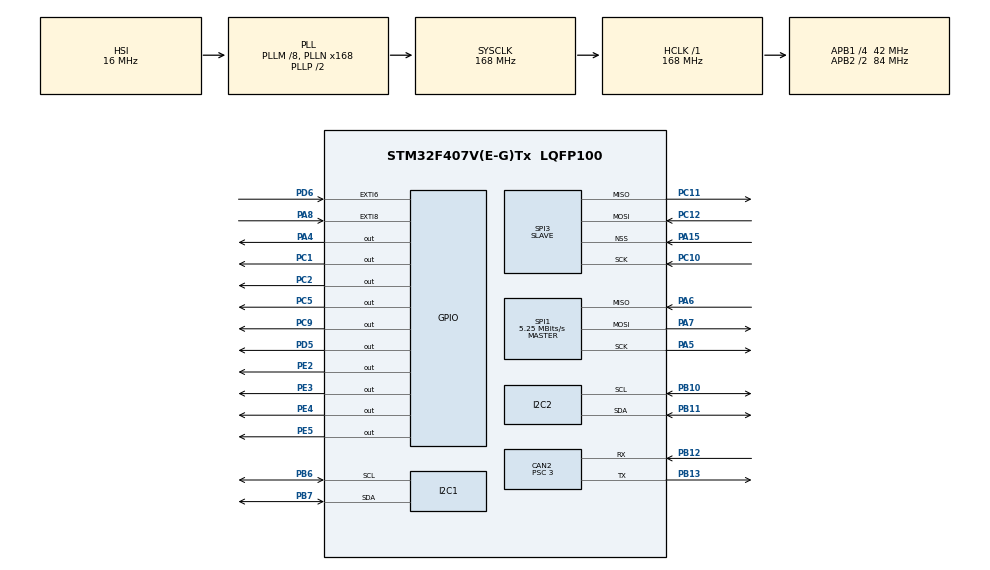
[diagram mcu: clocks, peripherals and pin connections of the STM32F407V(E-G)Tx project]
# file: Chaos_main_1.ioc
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CAN2.ABOM=ENABLE
CAN2.BS1=CAN_BS1_11TQ
CAN2.BS2=CAN_BS2_2TQ
CAN2.CalculateBaudRate=1000000
CAN2.CalculateTimeBit=1000
CAN2.CalculateTimeQuantum=71.42857142857143
CAN2.NART=ENABLE
CAN2.Prescaler=3
Dma.Request0=SPI3_RX
Dma.Request1=SPI3_TX
Dma.SPI3_RX.0.Direction=DMA_PERIPH_TO_MEMORY
Dma.SPI3_RX.0.FIFOMode=DMA_FIFOMODE_DISABLE
Dma.SPI3_RX.0.Instance=DMA1_Stream2
Dma.SPI3_RX.0.MemDataAlignment=DMA_MDATAALIGN_BYTE
Dma.SPI3_RX.0.MemInc=DMA_MINC_ENABLE
Dma.SPI3_RX.0.Mode=DMA_NORMAL
Dma.SPI3_RX.0.PeriphDataAlignment=DMA_PDATAALIGN_BYTE
Dma.SPI3_RX.0.PeriphInc=DMA_PINC_DISABLE
Dma.SPI3_RX.0.Priority=DMA_PRIORITY_LOW
Dma.SPI3_TX.1.Direction=DMA_MEMORY_TO_PERIPH
Dma.SPI3_TX.1.FIFOMode=DMA_FIFOMODE_DISABLE
Dma.SPI3_TX.1.Instance=DMA1_Stream5
Dma.SPI3_TX.1.MemDataAlignment=DMA_MDATAALIGN_BYTE
Dma.SPI3_TX.1.MemInc=DMA_MINC_ENABLE
Dma.SPI3_TX.1.Mode=DMA_NORMAL
Dma.SPI3_TX.1.PeriphDataAlignment=DMA_PDATAALIGN_BYTE
Dma.SPI3_TX.1.PeriphInc=DMA_PINC_DISABLE
Dma.SPI3_TX.1.Priority=DMA_PRIORITY_LOW
Mcu.Family=STM32F4
Mcu.Name=STM32F407V(E-G)Tx
Mcu.Package=LQFP100
NVIC.CAN2_RX0_IRQn=true\:0\:0\:false\:false\:true\:true\:true\:true
NVIC.CAN2_RX1_IRQn=true\:0\:0\:false\:false\:true\:true\:true\:true
NVIC.CAN2_SCE_IRQn=true\:0\:0\:false\:false\:true\:true\:true\:true
NVIC.CAN2_TX_IRQn=true\:0\:0\:false\:false\:true\:true\:true\:true
NVIC.DMA1_Stream2_IRQn=true\:0\:0\:false\:false\:true\:false\:true\:true
NVIC.DMA1_Stream5_IRQn=true\:0\:0\:false\:false\:true\:false\:true\:true
NVIC.EXTI9_5_IRQn=true\:0\:0\:false\:false\:true\:true\:true\:true
NVIC.PriorityGroup=NVIC_PRIORITYGROUP_4
NVIC.SPI3_IRQn=true\:0\:0\:false\:false\:true\:true\:true\:true
NVIC.TIM1_BRK_TIM9_IRQn=true\:0\:0\:false\:false\:true\:true\:true\:true
NVIC.TIM1_CC_IRQn=true\:0\:0\:false\:false\:true\:true\:true\:true
NVIC.TIM1_TRG_COM_TIM11_IRQn=true\:0\:0\:false\:false\:true\:true\:true\:true
NVIC.TIM1_UP_TIM10_IRQn=true\:0\:0\:false\:false\:true\:true\:true\:true
NVIC.TIM2_IRQn=true\:0\:0\:false\:false\:true\:true\:true\:true
NVIC.TIM3_IRQn=true\:0\:0\:false\:false\:true\:true\:true\:true
NVIC.TIM4_IRQn=true\:0\:0\:false\:false\:true\:true\:true\:true
NVIC.TIM5_IRQn=true\:0\:0\:false\:false\:true\:true\:true\:true
PA13.Mode=Serial_Wire
PA13.Signal=SYS_JTMS-SWDIO
PA14.Mode=Serial_Wire
PA14.Signal=SYS_JTCK-SWCLK
PA15.Mode=NSS_Signal_Hard_Input
PA15.Signal=SPI3_NSS
PA4.Signal=GPIO_Output
PA5.Mode=Full_Duplex_Master
PA5.Signal=SPI1_SCK
PA6.Mode=Full_Duplex_Master
PA6.Signal=SPI1_MISO
PA7.Mode=Full_Duplex_Master
PA7.Signal=SPI1_MOSI
PA8.Signal=GPXTI8
PB10.Mode=I2C
PB10.Signal=I2C2_SCL
PB11.Mode=I2C
PB11.Signal=I2C2_SDA
PB12.Mode=CAN_Activate
PB12.Signal=CAN2_RX
PB13.Mode=CAN_Activate
PB13.Signal=CAN2_TX
PB6.Mode=I2C
PB6.Signal=I2C1_SCL
PB7.Mode=I2C
PB7.Signal=I2C1_SDA
PC1.Signal=GPIO_Output
PC10.Mode=Full_Duplex_Slave
PC10.Signal=SPI3_SCK
PC11.Mode=Full_Duplex_Slave
PC11.Signal=SPI3_MISO
PC12.Mode=Full_Duplex_Slave
PC12.Signal=SPI3_MOSI
PC2.Signal=GPIO_Output
PC5.Signal=GPIO_Output
PC9.Signal=GPIO_Output
PD5.Signal=GPIO_Output
PD6.GPIO_ModeDefaultEXTI=GPIO_MODE_IT_RISING
PD6.GPIO_PuPd=GPIO_PULLDOWN
PD6.Signal=GPXTI6
PE2.Signal=GPIO_Output
PE3.Signal=GPIO_Output
PE4.Signal=GPIO_Output
PE5.Signal=GPIO_Output
PH0-OSC_IN.Mode=HSE-External-Oscillator
PH0-OSC_IN.Signal=RCC_OSC_IN
PH1-OSC_OUT.Mode=HSE-External-Oscillator
PH1-OSC_OUT.Signal=RCC_OSC_OUT
ProjectManager.HeapSize=0x200
ProjectManager.StackSize=0x400
ProjectManager.TargetToolchain=STM32CubeIDE
RCC.48MHZClocksFreq_Value=84000000
RCC.AHBFreq_Value=168000000
RCC.APB1CLKDivider=RCC_HCLK_DIV4
RCC.APB1Freq_Value=42000000
RCC.APB1TimFreq_Value=84000000
RCC.APB2CLKDivider=RCC_HCLK_DIV2
RCC.APB2Freq_Value=84000000
RCC.APB2TimFreq_Value=168000000
RCC.CortexFreq_Value=168000000
RCC.HCLKFreq_Value=168000000
RCC.HSE_VALUE=25000000
RCC.HSI_VALUE=16000000
RCC.LSE_VALUE=32768
RCC.PLLM=8
RCC.PLLN=168
RCC.SYSCLKFreq_VALUE=168000000
RCC.SYSCLKSource=RCC_SYSCLKSOURCE_PLLCLK
RCC.VCOOutputFreq_Value=336000000
SPI1.BaudRatePrescaler=SPI_BAUDRATEPRESCALER_16
SPI1.CalculateBaudRate=5.25 MBits/s
SPI1.Direction=SPI_DIRECTION_2LINES
SPI1.Mode=SPI_MODE_MASTER
SPI1.VirtualType=VM_MASTER
SPI3.Direction=SPI_DIRECTION_2LINES
SPI3.Mode=SPI_MODE_SLAVE
SPI3.VirtualNSS=VM_NSSHARD
SPI3.VirtualType=VM_SLAVE
TIM1.Period=399
TIM1.Prescaler=8399
TIM2.Period=9
TIM2.Prescaler=8399
TIM3.Period=9
TIM3.Prescaler=8399
TIM4.Period=9
TIM4.Prescaler=8399
TIM5.Period=24999
TIM5.Prescaler=16799
VP_TIM1_VS_ClockSourceINT.Mode=Internal
VP_TIM2_VS_ClockSourceINT.Mode=Internal
VP_TIM3_VS_ClockSourceINT.Mode=Internal
VP_TIM4_VS_ClockSourceINT.Mode=Internal
VP_TIM5_VS_ClockSourceINT.Mode=Internal
board=custom

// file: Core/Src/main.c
/* USER CODE BEGIN Header */
/**
  ******************************************************************************
  * @file           : main.c
  * @brief          : Main program body
  ******************************************************************************
  */
/* USER CODE END Header */
#include "main.h"

/* USER CODE BEGIN Includes */
#include "utils.h"
#include "NRF24.h"
#include "NRF24_reg_addresses.h"
/* USER CODE END Includes */

CAN_HandleTypeDef hcan2;

I2C_HandleTypeDef hi2c1;
I2C_HandleTypeDef hi2c2;

SPI_HandleTypeDef hspi1;
SPI_HandleTypeDef hspi3;
DMA_HandleTypeDef hdma_spi3_rx;
DMA_HandleTypeDef hdma_spi3_tx;

TIM_HandleTypeDef htim1;
TIM_HandleTypeDef htim2;
TIM_HandleTypeDef htim3;
TIM_HandleTypeDef htim4;
TIM_HandleTypeDef htim5;

/* USER CODE BEGIN PV */

volatile uint8_t init_ok;

/*  =========================== BQ76952 =========================== */
BQ76952_Data_t    bq76952       = {0};
BQ76952_Debug_t   bq_dbg        = {0};

/*  =========================== CAN / BQ error tracking =========================== */
uint32_t             err       = 0;
uint8_t              debug_i2c = 5;   /* set in debugger: 0-5, see BQ76952_DiagMode_t */
BQ76952_DiagResult_t bq_diag   = {0};

/*  =========================== NRF24L01 (RX / slave) =========================== */
static uint8_t nrf_addr[5] = {0x12, 0x34, 0x56, 0x78, 0x9A};  /* phai trung master */
static uint8_t nrf_buf[4];
float    nrf_vx = 0.0f, nrf_vy = 0.0f, nrf_vz = 0.0f;   /* gia tri nhan, [-0.5, 0.5] */
uint8_t  nrf_action = 0;                                 /* 0=block, 1=bat dau kiem tra arm */
uint32_t nrf_rx_count = 0;                               /* tong so goi nhan duoc */
uint32_t nrf_bad_width = 0;                              /* goi RX sai do dai */
uint32_t nrf_last_rx  = 0;                               /* tick cua goi cuoi */
uint8_t  nrf_link_ok  = 0;                               /* 1 = dang nhan, 0 = mat ket noi */

/* USER CODE END PV */

void SystemClock_Config(void);
static void MX_GPIO_Init(void);
static void MX_DMA_Init(void);
static void MX_I2C2_Init(void);
static void MX_SPI3_Init(void);
static void MX_CAN2_Init(void);
static void MX_I2C1_Init(void);
static void MX_TIM1_Init(void);
static void MX_TIM2_Init(void);
static void MX_TIM3_Init(void);
static void MX_TIM4_Init(void);
static void MX_SPI1_Init(void);
static void MX_TIM5_Init(void);

/* USER CODE BEGIN 0 */

/* Nạp ACK payload cho NRF: khi remote (master) gửi gói tới, NRF tự trả ACK kèm
 * 5 byte trạng thái này. Payload:
 *   [0] = init_done_mask bit 0..7
 *   [1] = init_done_mask bit 8..11
 *   [2] = rx_joints_received bit 0..7
 *   [3] = rx_joints_received bit 8..11
 *   [4] = flags: bit0 robot_falling (1=falling, 0=standing), bit1 all_nodes_ready
 * Phải nạp TRƯỚC khi gói tới (ack tự gửi bằng payload đang có trong FIFO).
 * LƯU Ý: remote (master) PHẢI bật Dynamic Payload + Ack Payload mới đọc được. */
static void nrf_load_status_ack(void)
{
    uint16_t init_mask = (uint16_t)(init_done_mask & 0x0FFFu);
    uint16_t rx_mask   = (uint16_t)(rx_joints_received & 0x0FFFu);
    uint8_t  buf[5];
    buf[0] = (uint8_t)(init_mask & 0xFF);
    buf[1] = (uint8_t)((init_mask >> 8) & 0x0F);
    buf[2] = (uint8_t)(rx_mask & 0xFF);
    buf[3] = (uint8_t)((rx_mask >> 8) & 0x0F);
    buf[4] = (uint8_t)((robot_falling ? 0x01u : 0x00u) |
                       (all_nodes_ready ? 0x02u : 0x00u));
    nrf24_flush_tx();                    /* ACK payload FIFO chi giu trang thai moi nhat */
    nrf24_transmit_rx_ack_pld(0, buf, 5);
}

/* USER CODE END 0 */

int main(void)
{

  /* MCU Configuration--------------------------------------------------------*/

  /* Reset of all peripherals, Initializes the Flash interface and the Systick. */
  HAL_Init();

  /* Configure the system clock */
  SystemClock_Config();

  /* Initialize all configured peripherals */
  MX_GPIO_Init();
  MX_DMA_Init();
  MX_I2C2_Init();
  MX_SPI3_Init();
  MX_CAN2_Init();
  MX_I2C1_Init();
  MX_TIM1_Init();
  MX_TIM2_Init();
  MX_TIM3_Init();
  MX_TIM4_Init();
  MX_SPI1_Init();
  MX_TIM5_Init();
  /* USER CODE BEGIN 2 */

  /*  =========================== MPU6050 Init =========================== */
  HAL_Delay(200);
  MPU6050_Init(&mpu, &hi2c1);
  MPU6050_Calibrate(&mpu);
  MPU6050_Update(&mpu);       /* Prime IMU outputs for debugger/first obs frame. */
  init_ok = 1;
  HAL_Delay(500);

  /*  =========================== BQ76952 Init =========================== */
  HAL_GPIO_WritePin(BQ_RST_SHUNT_PORT, BQ_RST_SHUNT_PIN, GPIO_PIN_RESET);
  HAL_Delay(100);

  bq76952.hi2c = &hi2c2;
  BQ76952_Diagnose(&bq76952, (BQ76952_DiagMode_t)debug_i2c,
                   GPIOB, GPIO_PIN_10, &bq_diag);

  if (bq_diag.i2c_status == HAL_OK)
  {
      BQ76952_SendSubcommand(&bq76952, BQ_SUBCMD_RESET);
      HAL_Delay(1000);

      BQ76952_Status_t init_ret = BQ76952_Init(&hi2c2, &bq76952, &bq_dbg);
      bq_dbg.cfg_ok = (init_ret == BQ_OK) ? 1 : 0;

      if (init_ret == BQ_OK)
      {
          BQ76952_DisableAllProtections(&bq76952);
          BQ76952_AllFetsOn(&bq76952);
          BQ76952_VerifyConfig(&bq76952, &bq_dbg);
          BQ76952_ReadAllData(&bq76952);
          BQ76952_UpdateDebug(&bq76952, &bq_dbg);
          HAL_GPIO_WritePin(LED_PORT, LED_L2, GPIO_PIN_SET);   /* L2: BMS OK        */
      }
      else
          HAL_GPIO_WritePin(LED_PORT, LED_L4, GPIO_PIN_SET);   /* L4: config error  */
  }
  else
      HAL_GPIO_WritePin(LED_PORT, LED_L4, GPIO_PIN_SET);       /* L4: not found     */

  HAL_Delay(50);

  /*  =========================== Jetson Output Pin Init =========================== */
  HAL_GPIO_WritePin(JETSON_OUT_PORT, JETSON_OUT_PIN, GPIO_PIN_RESET);
  jetson_out = 0;

  /*  =========================== Protection Init =========================== */
  /* Khởi tạo trạng thái có nhớ TRƯỚC khi start SPI/CAN (callback có thể chạy
   * ngay sau đó). Lớp NaN/range không cần init; slew/watchdog/stats cần.      */
  Protection_StatsReset(&prot_stats);
  Protection_SlewInit(&action_slew, PROT_ACTION_SLEW_MAX);
  Protection_WatchdogInit(&jetson_action_wd, PROT_ACTION_TIMEOUT_MS);
  jetson_action_link_ok = 0;

  /* Obs thiếu-khớp policy */
  obs_locked      = 0;
  obs_bad_streak  = 0;
  obs_good_streak = 0;

  /* Falling detection */
  robot_falling   = 0;

  /* Arming: chưa cho xuất action tới khi obs+action ổn định 5s (init/đứng dậy) */
  action_armed    = 0;

  /*  =========================== SPI3 DMA Start =========================== */
  HAL_SPI_TransmitReceive_DMA(&hspi3,
      (uint8_t *)spi_tx_buffer,
      (uint8_t *)spi_rx_buffer,
      SPI_PAYLOAD_FLOATS * sizeof(float));

  /*  =========================== CAN2 Filter & Start =========================== */
  CAN_FilterTypeDef filter = {0};
  filter.FilterActivation      = ENABLE;
  filter.FilterBank            = 14;
  filter.SlaveStartFilterBank  = 14;
  filter.FilterFIFOAssignment  = CAN_FILTER_FIFO0;
  filter.FilterMode            = CAN_FILTERMODE_IDMASK;
  filter.FilterScale           = CAN_FILTERSCALE_32BIT;
  filter.FilterIdHigh          = 0x0000;
  filter.FilterIdLow           = 0x0000;
  filter.FilterMaskIdHigh      = 0x0000;
  filter.FilterMaskIdLow       = 0x0000;

  if (HAL_CAN_ConfigFilter(&hcan2, &filter) != HAL_OK) Error_Handler();
  if (HAL_CAN_ActivateNotification(&hcan2,
        CAN_IT_RX_FIFO0_MSG_PENDING |
        CAN_IT_TX_MAILBOX_EMPTY     |
        CAN_IT_ERROR                |
        CAN_IT_BUSOFF               |
        CAN_IT_LAST_ERROR_CODE      |
        CAN_IT_ERROR_WARNING        |
        CAN_IT_ERROR_PASSIVE) != HAL_OK) Error_Handler();
  if (HAL_CAN_Start(&hcan2) != HAL_OK) Error_Handler();

  err = HAL_CAN_GetError(&hcan2);

  /*  =========================== Init-done handshake ===========================
   * Hỏi 12 node đã homing/init xong chưa. TIM5 broadcast CHECK_INIT_DONE mỗi 5s
   * tới khi gom đủ 12 bit (init_done_mask == INIT_DONE_ALL_MASK). Chỉ khi đủ
   * (all_nodes_ready = 1) thì EXTI/SPI mới cho phép chu kỳ điều khiển với Jetson.
   * Node báo bằng CAN_ID_INIT_DONE = 101..112; CAN RX callback set bit + stop TIM5. */
  init_done_mask  = 0;
  all_nodes_ready = 0;
  CAN_SendCheckInitDone();              /* hỏi ngay lần đầu, không chờ 5s        */
  HAL_TIM_Base_Start_IT(&htim5);

  /*  =========================== NRF24L01 setup as RX =========================== */
  /* CSN=PA4, CE=PC5 (da cau hinh GPIO output trong MX_GPIO_Init). SPI1 master, /16. */
  nrf24_defaults();
  HAL_Delay(5);
  nrf24_init();

  nrf24_open_tx_pipe(nrf_addr);            /* auto-ack: TX addr = pipe0 addr */
  nrf24_open_rx_pipe(0, nrf_addr);
  nrf24_pipe_pld_size(0, 4);               /* 4 byte: vx, vy, vz, action */
  nrf24_set_channel(110);     /* phai trung master */
  nrf24_data_rate(_1mbps);    /* phai trung master (TEST 1Mbps) */
  nrf24_tx_pwr(_0dbm);
  nrf24_set_crc(en_crc, _1byte);
  nrf24_auto_ack(0, enable);
  /* Dynamic payload + ACK payload: cho phép NRF trả trạng thái về remote qua ACK.
   * (Remote/master PHẢI bật DPL + ack-payload tương ứng mới nhận được.)        */
  nrf24_activate_features();
  nrf24_dpl(enable);
  nrf24_set_rx_dpl(0, enable);
  nrf24_en_ack_pld(enable);
  nrf24_listen();                           /* vao che do RX, CE len HIGH */
  nrf_load_status_ack();                    /* nạp ACK payload lần đầu          */

  /* TIM2/3/4 are started on-demand from ISR callbacks — not at boot */

#if TEST
  HAL_TIM_Base_Start_IT(&htim1);
#endif

  /* USER CODE END 2 */

  spi_last_ms = HAL_GetTick();   /* mốc khởi điểm cho watchdog SPI */
  uint8_t spi_link_lost = 0;     /* cạnh: đã kích xử lý mất-SPI chưa */

  /* Infinite loop */
  while (1)
  {

    /* USER CODE BEGIN 3 */
    for (uint8_t nrf_drain = 0; nrf_drain < 3 && nrf24_data_available(); nrf_drain++)
    {
      uint8_t pld_width = nrf24_r_pld_wid();
      if (pld_width != 4)
      {
        nrf24_flush_rx();
        nrf24_clear_rx_dr();
        nrf_bad_width++;
        nrf_load_status_ack();
        continue;
      }

      nrf24_receive(nrf_buf, 4);

      /* moi byte = int8 co dau = gia tri*100 -> chia 100 lai.
       * Ghi THẲNG vào vel_cmd[0..2] (vx,vy,vyaw) -> obs SPI_IDX_CMD lên Jetson. */
      vel_cmd[0] = (float)((int8_t)nrf_buf[0]) / 100.0f;   /* vx   -0.5..+0.5 */
      vel_cmd[1] = (float)((int8_t)nrf_buf[1]) / 100.0f;   /* vy             */
      vel_cmd[2] = (float)((int8_t)nrf_buf[2]) / 100.0f;   /* vyaw           */
      nrf_vx = vel_cmd[0]; nrf_vy = vel_cmd[1]; nrf_vz = vel_cmd[2]; /* mirror debug */
      nrf_action = nrf_buf[3] ? 1 : 0;

      nrf_rx_count++;
      nrf_last_rx = HAL_GetTick();

      /* Nạp lại ACK payload mới nhất cho lần ACK kế tiếp. */
      nrf_load_status_ack();
    }

    /* mat ket noi neu qua 500ms khong co goi moi */
    nrf_link_ok = ((HAL_GetTick() - nrf_last_rx) < 500) ? 1 : 0;

    /* ===== Watchdog SPI: Jetson không clock SPI quá lâu -> mất link =====
     * -> về "chưa init" (STATUS=WAIT cho Jetson) + broadcast CAN 150 cho node homing.
     * Cạnh-kích: chỉ xử lý 1 lần mỗi lần mất; SPI sống lại thì re-arm. */
    if ((uint32_t)(HAL_GetTick() - spi_last_ms) > SPI_TIMEOUT_MS)
    {
      if (!spi_link_lost)
      {
        spi_link_lost   = 1;
        all_nodes_ready = 0;          /* chưa sẵn sàng -> STATUS=WAIT, chặn action */
        init_done_mask  = 0;
        action_armed    = 0;
        CAN_SendFalling();            /* gửi 150 cho node homing (3 lần cho chắc) */
        CAN_SendFalling();
        CAN_SendFalling();
        HAL_TIM_Base_Start_IT(&htim5);  /* poll lại CHECK_INIT_DONE */
      }
    }
    else
    {
      spi_link_lost = 0;
    }

    /* Protection: giam sat link action tu Jetson (watchdog, Lop 5).
     * CHI danh gia khi dang RUN — luc HOLD ta co tinh khong forward action nen
     * watchdog khong duoc feed, khong tinh la "mat link" (tranh dem nham).     */
    if (Robot_SafeLevel() == SAFE_RUN)
    {
      uint8_t link_ok = !Protection_WatchdogExpired(&jetson_action_wd, HAL_GetTick());
      if (!link_ok && jetson_action_link_ok)
      {
          prot_stats.stale_events++;     /* canh xuong: vua mat lenh           */
          dbg_action_timeout_ms = HAL_GetTick();
      }
      jetson_action_link_ok = link_ok;
    }
    else
    {
      jetson_action_link_ok = 0;         /* dang HOLD: link coi nhu chua active */
    }
  }
  /* USER CODE END 3 */
}

void SystemClock_Config(void)
{
  RCC_OscInitTypeDef RCC_OscInitStruct = {0};
  RCC_ClkInitTypeDef RCC_ClkInitStruct = {0};

  /** Configure the main internal regulator output voltage
  */
  __HAL_RCC_PWR_CLK_ENABLE();
  __HAL_PWR_VOLTAGESCALING_CONFIG(PWR_REGULATOR_VOLTAGE_SCALE1);

  /** Initializes the RCC Oscillators according to the specified parameters
  * in the RCC_OscInitTypeDef structure.
  */
  RCC_OscInitStruct.OscillatorType = RCC_OSCILLATORTYPE_HSI;
  RCC_OscInitStruct.HSIState = RCC_HSI_ON;
  RCC_OscInitStruct.HSICalibrationValue = RCC_HSICALIBRATION_DEFAULT;
  RCC_OscInitStruct.PLL.PLLState = RCC_PLL_ON;
  RCC_OscInitStruct.PLL.PLLSource = RCC_PLLSOURCE_HSI;
  RCC_OscInitStruct.PLL.PLLM = 8;
  RCC_OscInitStruct.PLL.PLLN = 168;
  RCC_OscInitStruct.PLL.PLLP = RCC_PLLP_DIV2;
  RCC_OscInitStruct.PLL.PLLQ = 4;
  if (HAL_RCC_OscConfig(&RCC_OscInitStruct) != HAL_OK)
  {
    Error_Handler();
  }

  /** Initializes the CPU, AHB and APB buses clocks
  */
  RCC_ClkInitStruct.ClockType = RCC_CLOCKTYPE_HCLK|RCC_CLOCKTYPE_SYSCLK
                              |RCC_CLOCKTYPE_PCLK1|RCC_CLOCKTYPE_PCLK2;
  RCC_ClkInitStruct.SYSCLKSource = RCC_SYSCLKSOURCE_PLLCLK;
  RCC_ClkInitStruct.AHBCLKDivider = RCC_SYSCLK_DIV1;
  RCC_ClkInitStruct.APB1CLKDivider = RCC_HCLK_DIV4;
  RCC_ClkInitStruct.APB2CLKDivider = RCC_HCLK_DIV2;

  if (HAL_RCC_ClockConfig(&RCC_ClkInitStruct, FLASH_LATENCY_5) != HAL_OK)
  {
    Error_Handler();
  }
}

static void MX_CAN2_Init(void)
{

  hcan2.Instance = CAN2;
  hcan2.Init.Prescaler = 3;
  hcan2.Init.Mode = CAN_MODE_NORMAL;
  hcan2.Init.SyncJumpWidth = CAN_SJW_1TQ;
  hcan2.Init.TimeSeg1 = CAN_BS1_11TQ;
  hcan2.Init.TimeSeg2 = CAN_BS2_2TQ;
  hcan2.Init.TimeTriggeredMode = DISABLE;
  hcan2.Init.AutoBusOff = ENABLE;
  hcan2.Init.AutoWakeUp = DISABLE;
  hcan2.Init.AutoRetransmission = ENABLE;
  hcan2.Init.ReceiveFifoLocked = DISABLE;
  hcan2.Init.TransmitFifoPriority = DISABLE;
  if (HAL_CAN_Init(&hcan2) != HAL_OK)
  {
    Error_Handler();
  }

}

static void MX_I2C1_Init(void)
{

  hi2c1.Instance = I2C1;
  hi2c1.Init.ClockSpeed = 100000;
  hi2c1.Init.DutyCycle = I2C_DUTYCYCLE_2;
  hi2c1.Init.OwnAddress1 = 0;
  hi2c1.Init.AddressingMode = I2C_ADDRESSINGMODE_7BIT;
  hi2c1.Init.DualAddressMode = I2C_DUALADDRESS_DISABLE;
  hi2c1.Init.OwnAddress2 = 0;
  hi2c1.Init.GeneralCallMode = I2C_GENERALCALL_DISABLE;
  hi2c1.Init.NoStretchMode = I2C_NOSTRETCH_DISABLE;
  if (HAL_I2C_Init(&hi2c1) != HAL_OK)
  {
    Error_Handler();
  }

}

static void MX_I2C2_Init(void)
{

  hi2c2.Instance = I2C2;
  hi2c2.Init.ClockSpeed = 100000;
  hi2c2.Init.DutyCycle = I2C_DUTYCYCLE_2;
  hi2c2.Init.OwnAddress1 = 0;
  hi2c2.Init.AddressingMode = I2C_ADDRESSINGMODE_7BIT;
  hi2c2.Init.DualAddressMode = I2C_DUALADDRESS_DISABLE;
  hi2c2.Init.OwnAddress2 = 0;
  hi2c2.Init.GeneralCallMode = I2C_GENERALCALL_DISABLE;
  hi2c2.Init.NoStretchMode = I2C_NOSTRETCH_DISABLE;
  if (HAL_I2C_Init(&hi2c2) != HAL_OK)
  {
    Error_Handler();
  }

}

static void MX_SPI1_Init(void)
{

  /* SPI1 parameter configuration*/
  hspi1.Instance = SPI1;
  hspi1.Init.Mode = SPI_MODE_MASTER;
  hspi1.Init.Direction = SPI_DIRECTION_2LINES;
  hspi1.Init.DataSize = SPI_DATASIZE_8BIT;
  hspi1.Init.CLKPolarity = SPI_POLARITY_LOW;
  hspi1.Init.CLKPhase = SPI_PHASE_1EDGE;
  hspi1.Init.NSS = SPI_NSS_SOFT;
  hspi1.Init.BaudRatePrescaler = SPI_BAUDRATEPRESCALER_16;
  hspi1.Init.FirstBit = SPI_FIRSTBIT_MSB;
  hspi1.Init.TIMode = SPI_TIMODE_DISABLE;
  hspi1.Init.CRCCalculation = SPI_CRCCALCULATION_DISABLE;
  hspi1.Init.CRCPolynomial = 10;
  if (HAL_SPI_Init(&hspi1) != HAL_OK)
  {
    Error_Handler();
  }

}

static void MX_SPI3_Init(void)
{

  /* SPI3 parameter configuration*/
  hspi3.Instance = SPI3;
  hspi3.Init.Mode = SPI_MODE_SLAVE;
  hspi3.Init.Direction = SPI_DIRECTION_2LINES;
  hspi3.Init.DataSize = SPI_DATASIZE_8BIT;
  hspi3.Init.CLKPolarity = SPI_POLARITY_LOW;
  hspi3.Init.CLKPhase = SPI_PHASE_1EDGE;
  hspi3.Init.NSS = SPI_NSS_HARD_INPUT;
  hspi3.Init.FirstBit = SPI_FIRSTBIT_MSB;
  hspi3.Init.TIMode = SPI_TIMODE_DISABLE;
  hspi3.Init.CRCCalculation = SPI_CRCCALCULATION_DISABLE;
  hspi3.Init.CRCPolynomial = 10;
  if (HAL_SPI_Init(&hspi3) != HAL_OK)
  {
    Error_Handler();
  }

}

static void MX_TIM1_Init(void)
{

  TIM_ClockConfigTypeDef sClockSourceConfig = {0};
  TIM_MasterConfigTypeDef sMasterConfig = {0};

  htim1.Instance = TIM1;
  htim1.Init.Prescaler = 8399;
  htim1.Init.CounterMode = TIM_COUNTERMODE_UP;
  htim1.Init.Period = 399;
  htim1.Init.ClockDivision = TIM_CLOCKDIVISION_DIV1;
  htim1.Init.RepetitionCounter = 0;
  htim1.Init.AutoReloadPreload = TIM_AUTORELOAD_PRELOAD_DISABLE;
  if (HAL_TIM_Base_Init(&htim1) != HAL_OK)
  {
    Error_Handler();
  }
  sClockSourceConfig.ClockSource = TIM_CLOCKSOURCE_INTERNAL;
  if (HAL_TIM_ConfigClockSource(&htim1, &sClockSourceConfig) != HAL_OK)
  {
    Error_Handler();
  }
  sMasterConfig.MasterOutputTrigger = TIM_TRGO_RESET;
  sMasterConfig.MasterSlaveMode = TIM_MASTERSLAVEMODE_DISABLE;
  if (HAL_TIMEx_MasterConfigSynchronization(&htim1, &sMasterConfig) != HAL_OK)
  {
    Error_Handler();
  }

}

static void MX_TIM2_Init(void)
{

  TIM_ClockConfigTypeDef sClockSourceConfig = {0};
  TIM_MasterConfigTypeDef sMasterConfig = {0};

  htim2.Instance = TIM2;
  htim2.Init.Prescaler = 8399;
  htim2.Init.CounterMode = TIM_COUNTERMODE_UP;
  htim2.Init.Period = 9;
  htim2.Init.ClockDivision = TIM_CLOCKDIVISION_DIV1;
  htim2.Init.AutoReloadPreload = TIM_AUTORELOAD_PRELOAD_DISABLE;
  if (HAL_TIM_Base_Init(&htim2) != HAL_OK)
  {
    Error_Handler();
  }
  sClockSourceConfig.ClockSource = TIM_CLOCKSOURCE_INTERNAL;
  if (HAL_TIM_ConfigClockSource(&htim2, &sClockSourceConfig) != HAL_OK)
  {
    Error_Handler();
  }
  sMasterConfig.MasterOutputTrigger = TIM_TRGO_RESET;
  sMasterConfig.MasterSlaveMode = TIM_MASTERSLAVEMODE_DISABLE;
  if (HAL_TIMEx_MasterConfigSynchronization(&htim2, &sMasterConfig) != HAL_OK)
  {
    Error_Handler();
  }
  /* USER CODE BEGIN TIM2_Init 2 */
  HAL_NVIC_SetPriority(TIM2_IRQn, 0, 0);
  HAL_NVIC_EnableIRQ(TIM2_IRQn);
  /* USER CODE END TIM2_Init 2 */

}

static void MX_TIM3_Init(void)
{

  TIM_ClockConfigTypeDef sClockSourceConfig = {0};
  TIM_MasterConfigTypeDef sMasterConfig = {0};

  htim3.Instance = TIM3;
  htim3.Init.Prescaler = 8399;
  htim3.Init.CounterMode = TIM_COUNTERMODE_UP;
  htim3.Init.Period = 9;
  htim3.Init.ClockDivision = TIM_CLOCKDIVISION_DIV1;
  htim3.Init.AutoReloadPreload = TIM_AUTORELOAD_PRELOAD_DISABLE;
  if (HAL_TIM_Base_Init(&htim3) != HAL_OK)
  {
    Error_Handler();
  }
  sClockSourceConfig.ClockSource = TIM_CLOCKSOURCE_INTERNAL;
  if (HAL_TIM_ConfigClockSource(&htim3, &sClockSourceConfig) != HAL_OK)
  {
    Error_Handler();
  }
  sMasterConfig.MasterOutputTrigger = TIM_TRGO_RESET;
  sMasterConfig.MasterSlaveMode = TIM_MASTERSLAVEMODE_DISABLE;
  if (HAL_TIMEx_MasterConfigSynchronization(&htim3, &sMasterConfig) != HAL_OK)
  {
    Error_Handler();
  }
  /* USER CODE BEGIN TIM3_Init 2 */
  HAL_NVIC_SetPriority(TIM3_IRQn, 0, 0);
  HAL_NVIC_EnableIRQ(TIM3_IRQn);
  /* USER CODE END TIM3_Init 2 */

}

static void MX_TIM4_Init(void)
{

  TIM_ClockConfigTypeDef sClockSourceConfig = {0};
  TIM_MasterConfigTypeDef sMasterConfig = {0};

  htim4.Instance = TIM4;
  htim4.Init.Prescaler = 8399;
  htim4.Init.CounterMode = TIM_COUNTERMODE_UP;
  htim4.Init.Period = 9;
  htim4.Init.ClockDivision = TIM_CLOCKDIVISION_DIV1;
  htim4.Init.AutoReloadPreload = TIM_AUTORELOAD_PRELOAD_DISABLE;
  if (HAL_TIM_Base_Init(&htim4) != HAL_OK)
  {
    Error_Handler();
  }
  sClockSourceConfig.ClockSource = TIM_CLOCKSOURCE_INTERNAL;
  if (HAL_TIM_ConfigClockSource(&htim4, &sClockSourceConfig) != HAL_OK)
  {
    Error_Handler();
  }
  sMasterConfig.MasterOutputTrigger = TIM_TRGO_RESET;
  sMasterConfig.MasterSlaveMode = TIM_MASTERSLAVEMODE_DISABLE;
  if (HAL_TIMEx_MasterConfigSynchronization(&htim4, &sMasterConfig) != HAL_OK)
  {
    Error_Handler();
  }
  /* USER CODE BEGIN TIM4_Init 2 */
  HAL_NVIC_SetPriority(TIM4_IRQn, 0, 0);
  HAL_NVIC_EnableIRQ(TIM4_IRQn);
  /* USER CODE END TIM4_Init 2 */

}

static void MX_TIM5_Init(void)
{

  TIM_ClockConfigTypeDef sClockSourceConfig = {0};
  TIM_MasterConfigTypeDef sMasterConfig = {0};

  htim5.Instance = TIM5;
  htim5.Init.Prescaler = 16799;          /* 84MHz/16800 = 5000 Hz tick          */
  htim5.Init.CounterMode = TIM_COUNTERMODE_UP;
  htim5.Init.Period = 24999;             /* 25000 tick / 5000 Hz = 5.0 s        */
  htim5.Init.ClockDivision = TIM_CLOCKDIVISION_DIV1;
  htim5.Init.AutoReloadPreload = TIM_AUTORELOAD_PRELOAD_DISABLE;
  if (HAL_TIM_Base_Init(&htim5) != HAL_OK)
  {
    Error_Handler();
  }
  sClockSourceConfig.ClockSource = TIM_CLOCKSOURCE_INTERNAL;
  if (HAL_TIM_ConfigClockSource(&htim5, &sClockSourceConfig) != HAL_OK)
  {
    Error_Handler();
  }
  sMasterConfig.MasterOutputTrigger = TIM_TRGO_RESET;
  sMasterConfig.MasterSlaveMode = TIM_MASTERSLAVEMODE_DISABLE;
  if (HAL_TIMEx_MasterConfigSynchronization(&htim5, &sMasterConfig) != HAL_OK)
  {
    Error_Handler();
  }
  /* USER CODE BEGIN TIM5_Init 2 */
  HAL_NVIC_SetPriority(TIM5_IRQn, 5, 0);   /* thấp hơn các ISR điều khiển (0) */
  HAL_NVIC_EnableIRQ(TIM5_IRQn);
  /* USER CODE END TIM5_Init 2 */

}

static void MX_DMA_Init(void)
{

  /* DMA controller clock enable */
  __HAL_RCC_DMA1_CLK_ENABLE();

  /* DMA interrupt init */
  /* DMA1_Stream2_IRQn interrupt configuration */
  HAL_NVIC_SetPriority(DMA1_Stream2_IRQn, 0, 0);
  HAL_NVIC_EnableIRQ(DMA1_Stream2_IRQn);
  /* DMA1_Stream5_IRQn interrupt configuration */
  HAL_NVIC_SetPriority(DMA1_Stream5_IRQn, 0, 0);
  HAL_NVIC_EnableIRQ(DMA1_Stream5_IRQn);

}

static void MX_GPIO_Init(void)
{
  GPIO_InitTypeDef GPIO_InitStruct = {0};

  /* GPIO Ports Clock Enable */
  __HAL_RCC_GPIOE_CLK_ENABLE();
  __HAL_RCC_GPIOH_CLK_ENABLE();
  __HAL_RCC_GPIOC_CLK_ENABLE();
  __HAL_RCC_GPIOA_CLK_ENABLE();
  __HAL_RCC_GPIOB_CLK_ENABLE();
  __HAL_RCC_GPIOD_CLK_ENABLE();

  /*Configure GPIO pin Output Level */
  HAL_GPIO_WritePin(GPIOE, GPIO_PIN_2|GPIO_PIN_3|GPIO_PIN_4|GPIO_PIN_5, GPIO_PIN_RESET);

  /*Configure GPIO pin Output Level */
  HAL_GPIO_WritePin(GPIOC, GPIO_PIN_1|GPIO_PIN_2|GPIO_PIN_5|GPIO_PIN_9, GPIO_PIN_RESET);

  /*Configure GPIO pin Output Level */
  HAL_GPIO_WritePin(GPIOA, GPIO_PIN_4, GPIO_PIN_RESET);

  /*Configure GPIO pin Output Level */
  HAL_GPIO_WritePin(GPIOD, GPIO_PIN_5, GPIO_PIN_RESET);

  /*Configure GPIO pins : PE2 PE3 PE4 PE5 */
  GPIO_InitStruct.Pin = GPIO_PIN_2|GPIO_PIN_3|GPIO_PIN_4|GPIO_PIN_5;
  GPIO_InitStruct.Mode = GPIO_MODE_OUTPUT_PP;
  GPIO_InitStruct.Pull = GPIO_NOPULL;
  GPIO_InitStruct.Speed = GPIO_SPEED_FREQ_LOW;
  HAL_GPIO_Init(GPIOE, &GPIO_InitStruct);

  /*Configure GPIO pins : PC1 PC2 PC5 PC9 */
  GPIO_InitStruct.Pin = GPIO_PIN_1|GPIO_PIN_2|GPIO_PIN_5|GPIO_PIN_9;
  GPIO_InitStruct.Mode = GPIO_MODE_OUTPUT_PP;
  GPIO_InitStruct.Pull = GPIO_NOPULL;
  GPIO_InitStruct.Speed = GPIO_SPEED_FREQ_LOW;
  HAL_GPIO_Init(GPIOC, &GPIO_InitStruct);

  /*Configure GPIO pin : PA4 */
  GPIO_InitStruct.Pin = GPIO_PIN_4;
  GPIO_InitStruct.Mode = GPIO_MODE_OUTPUT_PP;
  GPIO_InitStruct.Pull = GPIO_NOPULL;
  GPIO_InitStruct.Speed = GPIO_SPEED_FREQ_LOW;
  HAL_GPIO_Init(GPIOA, &GPIO_InitStruct);

  /*Configure GPIO pin : PA8 */
  GPIO_InitStruct.Pin = GPIO_PIN_8;
  GPIO_InitStruct.Mode = GPIO_MODE_IT_RISING;
  GPIO_InitStruct.Pull = GPIO_NOPULL;
  HAL_GPIO_Init(GPIOA, &GPIO_InitStruct);

  /*Configure GPIO pin : PD5 */
  GPIO_InitStruct.Pin = GPIO_PIN_5;
  GPIO_InitStruct.Mode = GPIO_MODE_OUTPUT_PP;
  GPIO_InitStruct.Pull = GPIO_NOPULL;
  GPIO_InitStruct.Speed = GPIO_SPEED_FREQ_LOW;
  HAL_GPIO_Init(GPIOD, &GPIO_InitStruct);

  /*Configure GPIO pin : PD6 */
  GPIO_InitStruct.Pin = GPIO_PIN_6;
  GPIO_InitStruct.Mode = GPIO_MODE_IT_RISING;
  GPIO_InitStruct.Pull = GPIO_PULLDOWN;
  HAL_GPIO_Init(GPIOD, &GPIO_InitStruct);

  /* EXTI interrupt init*/
  HAL_NVIC_SetPriority(EXTI9_5_IRQn, 0, 0);
  HAL_NVIC_EnableIRQ(EXTI9_5_IRQn);

}

void Error_Handler(void)
{
  __disable_irq();
  while (1)
  {
  }
}
